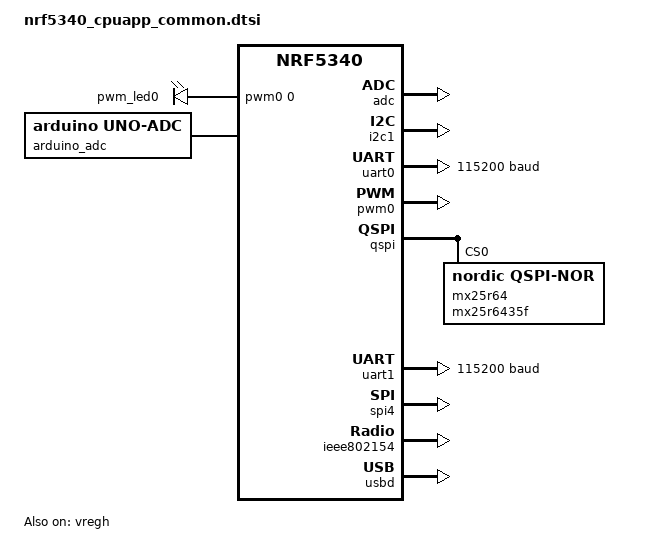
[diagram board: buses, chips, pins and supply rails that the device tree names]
/*
 * Copyright (c) 2019-2020 Nordic Semiconductor ASA
 *
 * SPDX-License-Identifier: Apache-2.0
 */
#include "nrf5340dk_common.dtsi"
#include "nrf5340_cpuapp_common-pinctrl.dtsi"
#include <zephyr/dt-bindings/input/input-event-codes.h>

/ {

	chosen {
		zephyr,console = &uart0;
		zephyr,shell-uart = &uart0;
		zephyr,uart-mcumgr = &uart0;
		zephyr,bt-mon-uart = &uart0;
		zephyr,bt-c2h-uart = &uart0;
		zephyr,bt-hci = &bt_hci_ipc0;
		nordic,802154-spinel-ipc = &ipc0;
		zephyr,ieee802154 = &ieee802154;
	};

	pwmleds {
		compatible = "pwm-leds";
		pwm_led0: pwm_led_0 {
			pwms = <&pwm0 0 PWM_MSEC(20) PWM_POLARITY_INVERTED>;
		};
	};

	arduino_adc: analog-connector {
		compatible = "arduino,uno-adc";
		#io-channel-cells = <1>;
		io-channel-map = <0 &adc 0>,	/* A0 = P0.4 = AIN0 */
				 <1 &adc 1>,	/* A1 = P0.5 = AIN1 */
				 <2 &adc 2>,	/* A2 = P0.6 = AIN2 */
				 <3 &adc 3>,	/* A3 = P0.7 = AIN3 */
				 <4 &adc 4>,	/* A4 = P0.25 = AIN4 */
				 <5 &adc 5>;	/* A5 = P0.26 = AIN5 */
	};

	gpio_fwd: nrf-gpio-forwarder {
		compatible = "nordic,nrf-gpio-forwarder";
		status = "okay";
		uart {
			gpios = <&gpio1 1 0>, <&gpio1 0 0>, <&gpio0 11 0>, <&gpio0 10 0>;
		};
	};

	/* These aliases are provided for compatibility with samples */
	aliases {
		pwm-led0 = &pwm_led0;
		watchdog0 = &wdt0;
	};
};

&vregmain {
	regulator-initial-mode = <NRF5X_REG_MODE_DCDC>;
};

&vregradio {
	regulator-initial-mode = <NRF5X_REG_MODE_DCDC>;
};

&vregh {
	status = "okay";
};

&adc {
	status = "okay";
};

&gpiote {
	status = "okay";
};

&gpio0 {
	status = "okay";
};

&gpio1 {
	status = "okay";
};

&i2c1 {
	compatible = "nordic,nrf-twim";
	status = "okay";
	pinctrl-0 = <&i2c1_default>;
	pinctrl-1 = <&i2c1_sleep>;
	pinctrl-names = "default", "sleep";
};

&uart0 {
	status = "okay";
	current-speed = <115200>;
	pinctrl-0 = <&uart0_default>;
	pinctrl-1 = <&uart0_sleep>;
	pinctrl-names = "default", "sleep";
};

&pwm0 {
	status = "okay";
	pinctrl-0 = <&pwm0_default>;
	pinctrl-1 = <&pwm0_sleep>;
	pinctrl-names = "default", "sleep";
};

&qspi {
	status = "okay";
	pinctrl-0 = <&qspi_default>;
	pinctrl-1 = <&qspi_sleep>;
	pinctrl-names = "default", "sleep";
	mx25r64: mx25r6435f@0 {
		compatible = "nordic,qspi-nor";
		reg = <0>;
		/* MX25R64 supports only pp and pp4io */
		writeoc = "pp4io";
		/* MX25R64 supports all readoc options */
		readoc = "read4io";
		sck-frequency = <8000000>;
		jedec-id = [c2 28 17];
		sfdp-bfp = [
			e5 20 f1 ff  ff ff ff 03  44 eb 08 6b  08 3b 04 bb
			ee ff ff ff  ff ff 00 ff  ff ff 00 ff  0c 20 0f 52
			10 d8 00 ff  23 72 f5 00  82 ed 04 cc  44 83 68 44
			30 b0 30 b0  f7 c4 d5 5c  00 be 29 ff  f0 d0 ff ff
		];
		size = <67108864>;
		has-dpd;
		t-enter-dpd = <10000>;
		t-exit-dpd = <35000>;
	};
};

arduino_serial: &uart1 {
	compatible = "nordic,nrf-uarte";
	current-speed = <115200>;
	pinctrl-0 = <&uart1_default>;
	pinctrl-1 = <&uart1_sleep>;
	pinctrl-names = "default", "sleep";
};

arduino_i2c: &i2c1 {};

arduino_spi: &spi4 {
	compatible = "nordic,nrf-spim";
	status = "okay";
	cs-gpios = <&arduino_header 16 GPIO_ACTIVE_LOW>; /* D10 */
	pinctrl-0 = <&spi4_default>;
	pinctrl-1 = <&spi4_sleep>;
	pinctrl-names = "default", "sleep";
};

&ieee802154 {
	status = "okay";
};

zephyr_udc0: &usbd {
	compatible = "nordic,nrf-usbd";
	status = "okay";
};

/* Include default memory partition configuration file */
#include <common/nordic/nrf5340_cpuapp_partition.dtsi>
